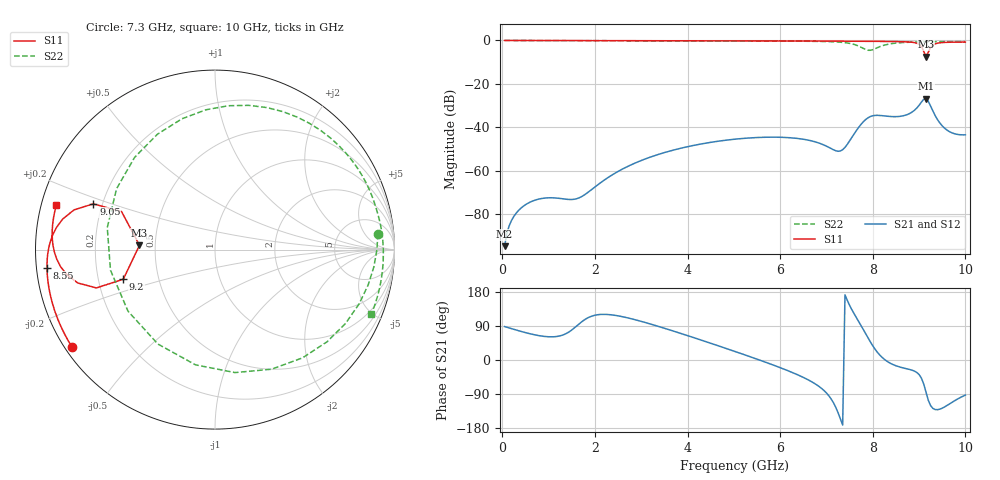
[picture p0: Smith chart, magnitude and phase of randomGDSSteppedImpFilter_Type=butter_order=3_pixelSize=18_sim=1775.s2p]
! freq	dB(S11)	phase(S11)	dB(S12)	phase(S12)
!  dB(S21)	phase(S21)	dB(S22)	phase(S22)
!S-par simulation data
#  GHz  S  DB  R 50
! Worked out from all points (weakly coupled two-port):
!   200 points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, 50 MHz to 10 GHz, reference 50 ohm
!   highest |S21| = -26.81 dB at 9.15 GHz (marker M1); lowest = -94.9 dB at 50 MHz (marker M2)
!   lowest |S11| = -7.5 dB at 9.15 GHz (marker M3), VSWR 2.46, Z = 20.4 + j1.19 ohm
!   |S11| at or under -10 dB: nowhere
!   |S22| runs from -4.5 to 0.0 dB; largest |S21 - S12| = 0
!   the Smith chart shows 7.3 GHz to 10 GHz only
!   S11 on the Smith chart (normalised r, x): 7.3 GHz: 0.02, -0.31; 8.55 GHz: 0.03, -0.05; 9.05 GHz: 0.17, +0.18; 9.2 GHz: 0.31, -0.14; 10 GHz: 0.04, +0.14
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0.05  -0.00 -1.1  -94.90 88.2  -94.90 88.2  -0.00 -2.7
0.95  -0.03 -20.6  -72.64 61.7  -72.64 61.7  -0.06 -49.6
1.75  -0.05 -37.6  -71.57 104.0  -71.57 104.0  -0.11 -88.7
3.4  -0.09 -71.3  -52.37 87.6  -52.37 87.6  -0.18 -160.6
4.2  -0.12 -86.9  -48.13 56.4  -48.13 56.4  -0.21 166.5
5.05  -0.16 -103.1  -45.48 21.5  -45.48 21.5  -0.25 130.9
5.95  -0.21 -119.9  -44.63 -17.8  -44.63 -17.8  -0.30 90.6
6.7  -0.27 -134.1  -46.44 -58.7  -46.44 -58.7  -0.39 51.4
7.3  -0.32 -145.7  -50.99 -154.9  -50.99 -154.9  -0.80 5.5
7.55  -0.35 -150.7  -44.68 132.3  -44.68 132.3  -1.56 -29.5
7.75  -0.37 -154.8  -38.62 90.2  -38.62 90.2  -3.17 -80.8
7.9  -0.39 -158.0  -35.64 57.9  -35.64 57.9  -4.53 -144.7
8  -0.40 -160.2  -34.74 37.4  -34.74 37.4  -4.26 168.5
8.15  -0.42 -163.6  -34.59 13.2  -34.59 13.2  -2.87 116.5
8.35  -0.46 -168.4  -35.03 -6.6  -35.03 -6.6  -1.67 76.8
8.55  -0.52 -173.8  -35.09 -17.3  -35.09 -17.3  -1.12 53.1
9.05  -2.80 159.4  -28.47 -47.7  -28.47 -47.7  -0.68 17.7
9.15  -7.50 176.7  -26.81 -85.2  -26.81 -85.2  -0.65 12.6
9.2  -5.40 -162.1  -28.13 -106.6  -28.13 -106.6  -0.62 10.2
9.35  -1.54 -170.4  -34.79 -130.8  -34.79 -130.8  -0.57 3.1
9.55  -0.90 178.8  -40.45 -123.9  -40.45 -123.9  -0.54 -5.5
10  -0.74 164.2  -43.53 -92.6  -43.53 -92.6  -0.51 -22.3
